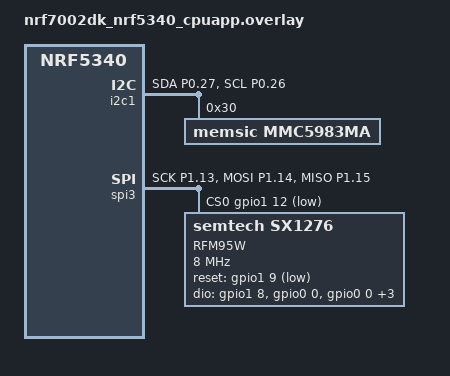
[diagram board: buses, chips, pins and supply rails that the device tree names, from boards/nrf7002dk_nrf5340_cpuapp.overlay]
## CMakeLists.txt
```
# SPDX-License-Identifier: Apache-2.0

cmake_minimum_required(VERSION 3.20.0)
find_package(Zephyr REQUIRED HINTS $ENV{ZEPHYR_BASE})
project(sentx)

target_sources(app PRIVATE src/main.c)
```

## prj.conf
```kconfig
# 基础外设
CONFIG_GPIO=y
CONFIG_SPI=y
CONFIG_I2C=y

# LoRa 驱动
CONFIG_LORA=y
CONFIG_LORA_SX127X=y

# 串口和日志
CONFIG_SERIAL=y
CONFIG_CONSOLE=y
CONFIG_UART_CONSOLE=y
CONFIG_PRINTK=y
CONFIG_LOG=y
CONFIG_LOG_DEFAULT_LEVEL=3
CONFIG_LOG_BACKEND_UART=y
CONFIG_STDOUT_CONSOLE=y

# 浮点数支持（用于磁场数据）
CONFIG_CBPRINTF_FP_SUPPORT=y

# 栈大小
CONFIG_MAIN_STACK_SIZE=4096
CONFIG_SYSTEM_WORKQUEUE_STACK_SIZE=2048
CONFIG_HEAP_MEM_POOL_SIZE=2048
```

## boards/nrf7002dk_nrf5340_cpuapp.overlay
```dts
/ {
    aliases {
        lora0 = &rfm95;
    };
};

/* ========================= I2C1 for MMC5983MA ========================= */
&i2c1 {
    compatible = "nordic,nrf-twim";
    status = "okay";
    pinctrl-0 = <&i2c1_default>;
    pinctrl-1 = <&i2c1_sleep>;
    pinctrl-names = "default", "sleep";

    mmc5983ma: mmc5983ma@30 {
        compatible = "memsic,mmc5983ma";
        reg = <0x30>;
    };
};

/* ========================= SPI3 for RFM95 LoRa ========================= */
&spi3 {
    compatible = "nordic,nrf-spim";
    status = "okay";
    pinctrl-0 = <&spi3_default>;
    pinctrl-1 = <&spi3_sleep>;
    pinctrl-names = "default", "sleep";
    cs-gpios = <&gpio1 12 GPIO_ACTIVE_LOW>;

    rfm95: sx1276@0 {
        compatible = "semtech,sx1276";
        reg = <0>;
        label = "RFM95W";
        spi-max-frequency = <8000000>;
        
        reset-gpios = <&gpio1 9 GPIO_ACTIVE_LOW>;
        dio-gpios = <&gpio1 8 (GPIO_ACTIVE_HIGH | GPIO_PULL_UP)>,
                    <&gpio0 0 GPIO_ACTIVE_HIGH>,
                    <&gpio0 0 GPIO_ACTIVE_HIGH>,
                    <&gpio0 0 GPIO_ACTIVE_HIGH>,
                    <&gpio0 0 GPIO_ACTIVE_HIGH>,
                    <&gpio0 0 GPIO_ACTIVE_HIGH>;
        
        interrupt-parent = <&gpio1>;
        power-amplifier-output = "pa-boost";
    };
};

/* ========================= Pinctrl ========================= */
&pinctrl {
    /* I2C1: SDA=P0.27, SCL=P0.26 */
    i2c1_default: i2c1_default {
        group1 {
            psels = <NRF_PSEL(TWIM_SDA, 0, 27)>,
                    <NRF_PSEL(TWIM_SCL, 0, 26)>;
            bias-pull-up;
        };
    };

    i2c1_sleep: i2c1_sleep {
        group1 {
            psels = <NRF_PSEL(TWIM_SDA, 0, 27)>,
                    <NRF_PSEL(TWIM_SCL, 0, 26)>;
            low-power-enable;
            bias-pull-up;
        };
    };

    /* SPI3: SCK=P1.13, MOSI=P1.14, MISO=P1.15 */
    spi3_default: spi3_default {
        group1 {
            psels = <NRF_PSEL(SPIM_SCK,  1, 13)>,
                    <NRF_PSEL(SPIM_MOSI, 1, 14)>,
                    <NRF_PSEL(SPIM_MISO, 1, 15)>;
        };
    };

    spi3_sleep: spi3_sleep {
        group1 {
            psels = <NRF_PSEL(SPIM_SCK,  1, 13)>,
                    <NRF_PSEL(SPIM_MOSI, 1, 14)>,
                    <NRF_PSEL(SPIM_MISO, 1, 15)>;
            low-power-enable;
        };
    };
};
```

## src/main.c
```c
#include <stdio.h>
#include <string.h>
#include <zephyr/device.h>
#include <zephyr/drivers/gpio.h>
#include <zephyr/drivers/i2c.h>
#include <zephyr/drivers/spi.h>
#include <zephyr/kernel.h>
#include <zephyr/logging/log.h>

LOG_MODULE_REGISTER(main, LOG_LEVEL_INF);

/* ==================== MMC5983MA 定义 ==================== */
#define MMC5983MA_ADDR 0x30
#define MMC5983MA_REG_XOUT0 0x00
#define MMC5983MA_REG_PRODUCT_ID 0x2F
#define MMC5983MA_CTRL0_TM 0x01
#define MMC5983MA_CTRL0_SET 0x08
#define MMC5983MA_CTRL1_BW_100HZ 0x00

/* ==================== LoRa SX1276 定义 ==================== */
#define LORA_FREQ_HZ 915000000UL
#define TX_POWER 14

// 简单打包函数
static void pack_mag_data(uint8_t *buf, uint32_t seq, int32_t x, int32_t y,
                          int32_t z) {
  buf[0] = 0x01; // node ID

  // 序列号 (4 bytes)
  buf[1] = (seq >> 0) & 0xFF;
  buf[2] = (seq >> 8) & 0xFF;
  buf[3] = (seq >> 16) & 0xFF;
  buf[4] = (seq >> 24) & 0xFF;

  // X (4 bytes)
  buf[5] = (x >> 0) & 0xFF;
  buf[6] = (x >> 8) & 0xFF;
  buf[7] = (x >> 16) & 0xFF;
  buf[8] = (x >> 24) & 0xFF;

  // Y (4 bytes)
  buf[9] = (y >> 0) & 0xFF;
  buf[10] = (y >> 8) & 0xFF;
  buf[11] = (y >> 16) & 0xFF;
  buf[12] = (y >> 24) & 0xFF;

  // Z (4 bytes)
  buf[13] = (z >> 0) & 0xFF;
  buf[14] = (z >> 8) & 0xFF;
  buf[15] = (z >> 16) & 0xFF;
  buf[16] = (z >> 24) & 0xFF;
}

static struct spi_dt_spec lora_spi =
    SPI_DT_SPEC_GET(DT_NODELABEL(rfm95), SPI_WORD_SET(8) | SPI_TRANSFER_MSB, 0);

/* ==================== SX1276 函数 ==================== */
static void sx1276_write_reg(uint8_t reg, uint8_t val) {
  uint8_t tx_buf[2] = {reg | 0x80, val};
  struct spi_buf tx = {.buf = tx_buf, .len = 2};
  const struct spi_buf_set txs = {.buffers = &tx, .count = 1};
  spi_write_dt(&lora_spi, &txs);
}

static int sx1276_read_reg(uint8_t reg, uint8_t *val) {
  uint8_t tx_buf[2] = {reg & 0x7F, 0x00};
  uint8_t rx_buf[2] = {0};
  struct spi_buf tx = {.buf = tx_buf, .len = 2};
  struct spi_buf rx = {.buf = rx_buf, .len = 2};
  const struct spi_buf_set tx_set = {.buffers = &tx, .count = 1};
  const struct spi_buf_set rx_set = {.buffers = &rx, .count = 1};
  int ret = spi_transceive_dt(&lora_spi, &tx_set, &rx_set);
  if (ret == 0)
    *val = rx_buf[1];
  return ret;
}

static void sx1276_write_fifo(const uint8_t *data, uint8_t len) {
  uint8_t buf[1 + 64];
  buf[0] = 0x80;
  memcpy(&buf[1], data, len);
  struct spi_buf tx = {.buf = buf, .len = len + 1};
  const struct spi_buf_set txs = {.buffers = &tx, .count = 1};
  spi_write_dt(&lora_spi, &txs);
}

static void sx1276_set_freq(uint32_t freq) {
  uint64_t frf = ((uint64_t)freq << 19) / 32000000;
  sx1276_write_reg(0x06, (frf >> 16) & 0xFF);
  sx1276_write_reg(0x07, (frf >> 8) & 0xFF);
  sx1276_write_reg(0x08, (frf) & 0xFF);
}

static void sx1276_init_lora(void) {
  sx1276_write_reg(0x01, 0x80);
  k_msleep(5);
  sx1276_write_reg(0x01, 0x81);
  sx1276_set_freq(LORA_FREQ_HZ);
  sx1276_write_reg(0x1D, 0x72);
  sx1276_write_reg(0x1E, 0x74);
  sx1276_write_reg(0x26, 0x04);
  sx1276_write_reg(0x39, 0x34);
  sx1276_write_reg(0x09, 0x8F);
  sx1276_write_reg(0x12, 0xFF);
  LOG_INF("LoRa initialized at 915 MHz");
}

static void sx1276_send_packet(const uint8_t *data, uint8_t len) {
  if (len == 0 || len > 64)
    return;

  uint8_t irq = 0;

  sx1276_write_reg(0x01, 0x81);
  k_msleep(2);
  sx1276_write_reg(0x12, 0xFF);

  sx1276_set_freq(LORA_FREQ_HZ);
  sx1276_write_reg(0x1D, 0x72);
  sx1276_write_reg(0x1E, 0x74);
  sx1276_write_reg(0x26, 0x04);
  sx1276_write_reg(0x39, 0x34);
  sx1276_write_reg(0x09, 0x8F);
  sx1276_write_reg(0x40, 0x40);

  sx1276_write_reg(0x0E, 0x80);
  sx1276_write_reg(0x0D, 0x80);
  sx1276_write_fifo(data, len);
  sx1276_write_reg(0x22, len);

  sx1276_write_reg(0x01, 0x83);

  for (int i = 0; i < 1000; i++) {
    sx1276_read_reg(0x12, &irq);
    if (irq & 0x08)
      break;
    k_busy_wait(1000);
  }

  if (irq & 0x08) {
    LOG_INF("TX Done");
  } else {
    LOG_WRN("TX Timeout");
  }

  sx1276_write_reg(0x12, 0x08);
  sx1276_write_reg(0x01, 0x81);
}

/* ==================== MMC5983MA 函数 ==================== */
static int mmc5983ma_init(const struct device *i2c_dev) {
  uint8_t product_id;
  uint8_t reg = MMC5983MA_REG_PRODUCT_ID;

  int ret = i2c_write_read(i2c_dev, MMC5983MA_ADDR, &reg, 1, &product_id, 1);
  if (ret != 0 || product_id != 0x30) {
    LOG_ERR("MMC5983MA init failed");
    return -1;
  }

  uint8_t cmd[2] = {0x09, MMC5983MA_CTRL0_SET};
  i2c_write(i2c_dev, cmd, 2, MMC5983MA_ADDR);
  k_msleep(1);

  cmd[0] = 0x0A;
  cmd[1] = MMC5983MA_CTRL1_BW_100HZ;
  i2c_write(i2c_dev, cmd, 2, MMC5983MA_ADDR);

  LOG_INF("MMC5983MA initialized (ID: 0x%02X)", product_id);
  return 0;
}

static int mmc5983ma_read_mag(const struct device *i2c_dev, int32_t *x,
                              int32_t *y, int32_t *z) {
  uint8_t data[7];
  uint8_t reg = MMC5983MA_REG_XOUT0;

  uint8_t cmd[2] = {0x09, MMC5983MA_CTRL0_TM};
  int ret = i2c_write(i2c_dev, cmd, 2, MMC5983MA_ADDR);
  if (ret != 0)
    return ret;

  k_msleep(10);

  ret = i2c_write_read(i2c_dev, MMC5983MA_ADDR, &reg, 1, data, 7);
  if (ret != 0)
    return ret;

  *x = ((uint32_t)data[0] << 10) | ((uint32_t)data[1] << 2) |
       ((data[6] >> 6) & 0x03);
  *y = ((uint32_t)data[2] << 10) | ((uint32_t)data[3] << 2) |
       ((data[6] >> 4) & 0x03);
  *z = ((uint32_t)data[4] << 10) | ((uint32_t)data[5] << 2) |
       ((data[6] >> 2) & 0x03);

  *x -= 131072;
  *y -= 131072;
  *z -= 131072;

  return 0;
}

/* ==================== 主函数 ==================== */
void main(void) {
  LOG_INF("=== Magnetometer + LoRa TX System ===");

  // 初始化 I2C (磁力计)
  const struct device *i2c_dev = DEVICE_DT_GET(DT_NODELABEL(i2c1));
  if (!device_is_ready(i2c_dev)) {
    LOG_ERR("I2C not ready!");
    return;
  }

  // 初始化 SPI (LoRa)
  if (!device_is_ready(lora_spi.bus)) {
    LOG_ERR("SPI not ready!");
    return;
  }

  // 初始化传感器
  if (mmc5983ma_init(i2c_dev) != 0) {
    LOG_ERR("Magnetometer init failed");
    return;
  }

  sx1276_init_lora();

  uint32_t packet_count = 0;

  while (1) {
    int32_t x, y, z;

    // 读取磁场数据
    if (mmc5983ma_read_mag(i2c_dev, &x, &y, &z) == 0) {
      float x_g = x * 0.0000625f;
      float y_g = y * 0.0000625f;
      float z_g = z * 0.0000625f;
      float mag = sqrtf(x_g * x_g + y_g * y_g + z_g * z_g);

      LOG_INF("Mag: X=%.3f Y=%.3f Z=%.3f |M|=%.3f G", (double)x_g, (double)y_g,
              (double)z_g, (double)mag);

      // 格式化为字符串并发送
      // char message[64];
      // snprintf(message, sizeof(message),
      //          "#%lu X:%.2f Y:%.2f Z:%.2f M:%.2f",
      //          (unsigned long)packet_count,
      //          (double)x_g, (double)y_g, (double)z_g, (double)mag);

      // LOG_INF("Sending: %s", message);
      // sx1276_send_packet((uint8_t*)message, strlen(message));
      uint8_t packet[17]; // 1+4+4+4+4 = 17 bytes
      pack_mag_data(packet, packet_count, x, y, z);
      LOG_INF("Sending binary packet #%lu", packet_count);
      sx1276_send_packet(packet, 17);

      packet_count++;
    } else {
      LOG_ERR("Mag read failed");
    }

    k_sleep(K_SECONDS(5)); // 每5秒发送一次
  }
}
```
